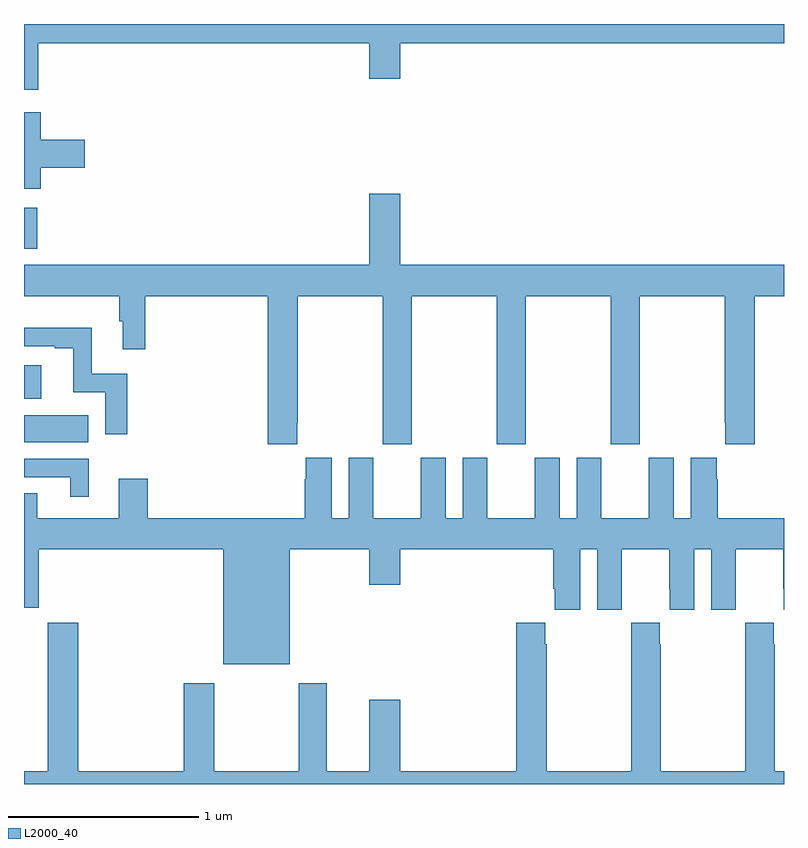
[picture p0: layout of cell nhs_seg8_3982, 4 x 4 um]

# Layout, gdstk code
import gdstk
lib = gdstk.Library(unit=1e-6, precision=1e-09)
def R(c, l, rs):  # rectangles x0, y0, x1, y1
    for r in rs: c.add(gdstk.rectangle(r[:2], r[2:], *l))
def P(c, l, *ps):  # polygons
    for p in ps: c.add(gdstk.Polygon(p, *l))
L2000_40 = (2000, 40)

nhs_seg8_3982 = lib.new_cell('nhs_seg8_3982')
R(nhs_seg8_3982, L2000_40, [(355,1147.7,355.339,1147.84), (355,1147.928,355.09,1148.104), (355,1148.718,355.07,1148.934)])
P(nhs_seg8_3982, L2000_40, [(355.076,1149.8),(356.816,1149.8),(356.816,1149.612),(356.98,1149.612),(356.98,1149.8),(359,1149.8),(359,1149.9),(355,1149.9),(355,1149.555),(355.076,1149.555)],
  [(355.088,1149.143),(355.321,1149.143),(355.321,1149.29),(355.088,1149.29),(355.088,1149.436),(355,1149.436),(355,1149.033),(355.088,1149.033)],
  [(356.816,1149.007),(356.816,1148.632),(355,1148.632),(355,1148.468),(355.501,1148.468),(355.501,1148.336),(355.52,1148.336),(355.52,1148.187),(355.637,1148.187),(355.637,1148.468),(356.282,1148.468),(356.282,1147.689),(356.437,1147.689),(356.437,1147.801),(356.442,1147.801),(356.442,1148.468),(356.887,1148.468),(356.887,1147.689),(357.042,1147.689),(357.042,1148.468),(357.487,1148.468),(357.487,1147.689),(357.642,1147.689),(357.642,1148.468),(358.087,1148.468),(358.087,1147.689),(358.242,1147.689),(358.242,1148.468),(358.687,1148.468),(358.687,1147.801),(358.691,1147.801),(358.691,1147.689),(358.847,1147.689),(358.847,1148.468),(359,1148.468),(359,1148.632),(356.98,1148.632),(356.98,1149.007)],
  [(355.544,1148.058),(355.357,1148.058),(355.357,1148.302),(355,1148.302),(355,1148.205),(355.163,1148.205),(355.163,1148.193),(355.259,1148.193),(355.259,1147.962),(355.428,1147.962),(355.428,1147.74),(355.544,1147.74)],
  [(356.398,1147.136),(356.816,1147.136),(356.816,1146.948),(356.98,1146.948),(356.98,1147.136),(357.785,1147.136),(357.785,1146.928),(357.794,1146.928),(357.794,1146.816),(357.928,1146.816),(357.928,1147.136),(358.016,1147.136),(358.016,1146.816),(358.146,1146.816),(358.146,1146.928),(358.147,1146.928),(358.147,1147.136),(358.397,1147.136),(358.397,1146.928),(358.398,1146.928),(358.398,1146.816),(358.528,1146.816),(358.528,1147.136),(358.616,1147.136),(358.616,1146.816),(358.746,1146.816),(358.746,1146.928),(358.747,1146.928),(358.747,1147.136),(358.997,1147.136),(358.997,1146.928),(358.998,1146.928),(358.998,1146.816),(359,1146.816),(359,1147.3),(358.652,1147.3),(358.652,1147.505),(358.645,1147.505),(358.645,1147.618),(358.508,1147.618),(358.508,1147.3),(358.42,1147.3),(358.42,1147.618),(358.289,1147.618),(358.289,1147.3),(358.039,1147.3),(358.039,1147.618),(357.908,1147.618),(357.908,1147.3),(357.82,1147.3),(357.82,1147.618),(357.689,1147.618),(357.689,1147.3),(357.439,1147.3),(357.439,1147.618),(357.308,1147.618),(357.308,1147.3),(357.22,1147.3),(357.22,1147.618),(357.089,1147.618),(357.089,1147.3),(356.839,1147.3),(356.839,1147.618),(356.708,1147.618),(356.708,1147.3),(356.62,1147.3),(356.62,1147.618),(356.483,1147.618),(356.483,1147.505),(356.477,1147.505),(356.477,1147.3),(355.652,1147.3),(355.652,1147.507),(355.499,1147.507),(355.499,1147.3),(355.069,1147.3),(355.069,1147.43),(355,1147.43),(355,1146.827),(355.078,1146.827),(355.078,1147.136),(356.048,1147.136),(356.048,1146.53),(356.398,1146.53)],
  [(355.342,1147.611),(355,1147.611),(355,1147.515),(355.244,1147.515),(355.244,1147.413),(355.342,1147.413)],
  [(359,1145.968),(358.95,1145.968),(358.95,1146.635),(358.947,1146.635),(358.947,1146.748),(358.797,1146.748),(358.797,1146.635),(358.795,1146.635),(358.795,1145.968),(358.35,1145.968),(358.35,1146.635),(358.347,1146.635),(358.347,1146.748),(358.197,1146.748),(358.197,1146.635),(358.195,1146.635),(358.195,1145.968),(357.75,1145.968),(357.75,1146.635),(357.743,1146.635),(357.743,1146.748),(357.59,1146.748),(357.59,1145.968),(356.98,1145.968),(356.98,1146.343),(356.816,1146.343),(356.816,1145.968),(356.593,1145.968),(356.593,1146.43),(356.446,1146.43),(356.446,1145.968),(356.001,1145.968),(356.001,1146.43),(355.841,1146.43),(355.841,1145.968),(355.286,1145.968),(355.286,1146.748),(355.126,1146.748),(355.126,1145.968),(355,1145.968),(355,1145.9),(359,1145.9)])

lib.write_gds('nhs_seg8_3982.gds')
